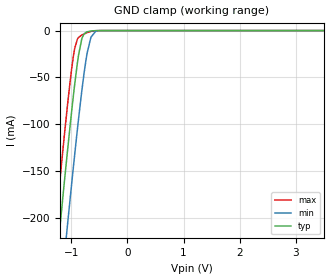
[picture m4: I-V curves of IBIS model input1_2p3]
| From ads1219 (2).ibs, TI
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|   input1_2p3 Model
[Model]   input1_2p3
Model_type   Input
Vinl = 0.69
Vinh = 1.61
|   typ   min   max
C_comp   6.78646E-13   6.36283E-13   7.17205E-13
[Model spec]
|subparameter
Vinl   0.69   0.6897   0.6903
Vinh   1.61   1.6093   1.6107
| Where Nom  PVT is Nominal Process, 2.3V, 27C
|   Fast PVT is Strong Process,  2.301V, -40C
|   Slow PVT is Weak Process,   2.299, 125C
[Voltage Range]   2.3   2.299   2.301
[Temperature Range]   27   125   -40
[Power Clamp Reference]   2.3   2.299   2.301
[GND Clamp Reference]   0   0   0
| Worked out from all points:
|   GND clamp passes 1 mA (typ) near -0.70 V on its own axis
[GND Clamp]
|   Voltage   I(typ)   I(min)   I(max)
-2.3V     -914.9mA   -992.5mA   -866.7mA
-1.382V   -321.3mA   -401.4mA   -270.9mA
-1.155V   -179.7mA   -259.6mA   -129.5mA
-1.072V   -130.2mA   -209.4mA   -81.15mA
-995.9mV  -86.8mA    -164.3mA   -41.23mA
-940.7mV  -57.44mA   -132.5mA   -19.04mA
-871.7mV  -26.08mA   -94.28mA   -7.305mA
-816.5mV  -9.537mA   -65.77mA   -4.877mA
-740.6mV  -1.91mA    -31.86mA   -2.726mA
-650.9mV  -406.8uA   -7.043mA   -910.5uA
-519.8mV  -22.13uA   -233uA     -44.58uA
4.6V      0A         0A         0A
[POWER Clamp]
|   Voltage   I(typ)   I(min)   I(max)
-2.3V     0A         0A         0A
0V        0A         0A         0A
4.6V      0A         0A         0A
